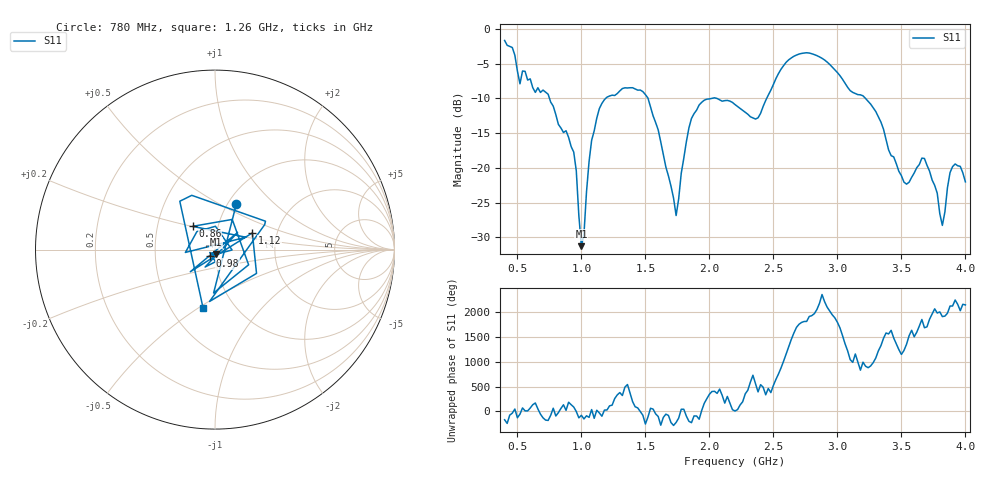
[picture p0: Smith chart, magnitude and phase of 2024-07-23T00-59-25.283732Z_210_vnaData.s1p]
!Created with skrf (http://scikit-rf.org).
# Hz S RI R 50.0
!freq ReS11 ImS11
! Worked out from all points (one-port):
!   181 points, 400 MHz to 4 GHz, reference 50 ohm
!   lowest |S11| = -31.3 dB at 1 GHz (marker M1), VSWR 1.06, Z = 50.5 - j2.71 ohm
!   |S11| at or under -10 dB: 750.5 MHz to 1.19 GHz (439.7 MHz wide, 45.3 % of centre); 1.521 GHz to 2.02 GHz (499.9 MHz wide, 28.2 % of centre); 3.219 GHz to end of sweep (the widest 3 of 4)
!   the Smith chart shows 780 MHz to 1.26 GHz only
!   S11 on the Smith chart (normalised r, x): 780 MHz: 1.10, +0.60; 860 MHz: 0.76, +0.20; 980 MHz: 0.94, -0.07; 1.12 GHz: 1.49, +0.29; 1.26 GHz: 0.72, -0.52
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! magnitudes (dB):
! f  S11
! 400 MHz  -1.7
! 520 MHz  -7.9
! 560 MHz  -6.1
! 780 MHz  -11.1
! 860 MHz  -14.9
! 940 MHz  -17.7
! 980 MHz  -26.8
! 1 GHz  -31.3
! 1.02 GHz  -29.5
! 1.06 GHz  -19.1
! 1.12 GHz  -12.8
! 1.26 GHz  -9.6
! 1.3 GHz  -8.9
! 1.52 GHz  -10.0
! 1.74 GHz  -26.8
! 1.76 GHz  -24.4
! 1.84 GHz  -14.2
! 1.92 GHz  -10.9
! 2.2 GHz  -10.9
! 2.38 GHz  -12.8
! 2.66 GHz  -3.9
! 3.1 GHz  -8.9
! 3.3 GHz  -11.9
! 3.56 GHz  -22.1
! 3.68 GHz  -18.6
! 3.82 GHz  -28.3
! 3.9 GHz  -19.8
! 4 GHz  -22.0
